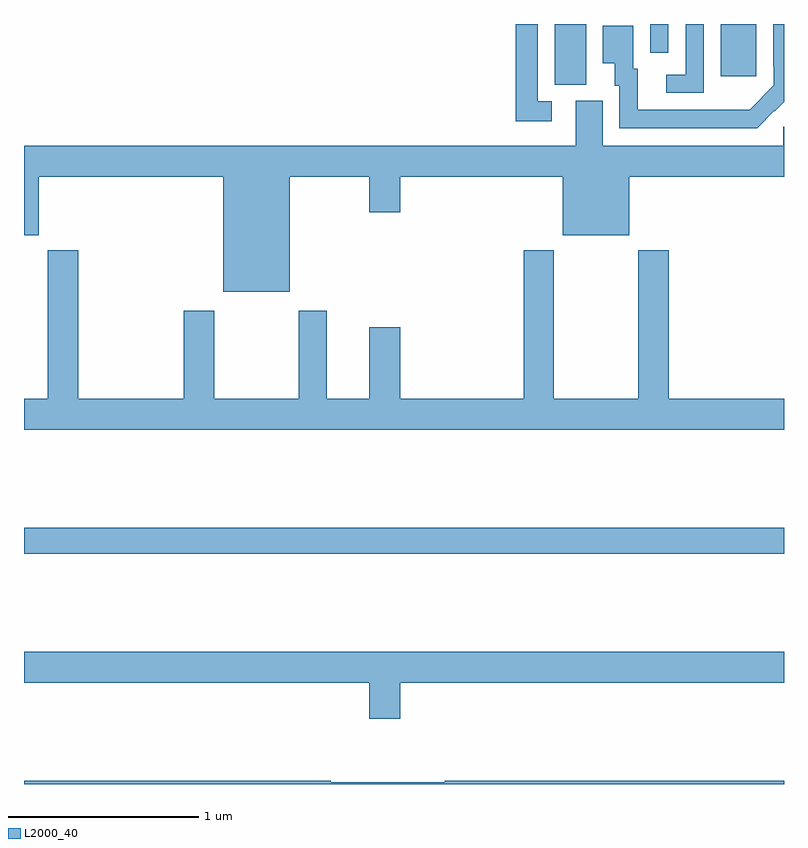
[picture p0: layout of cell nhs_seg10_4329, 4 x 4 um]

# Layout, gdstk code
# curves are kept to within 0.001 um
import gdstk
lib = gdstk.Library(unit=1e-6, precision=1e-09)
def R(c, l, rs):  # rectangles x0, y0, x1, y1
    for r in rs: c.add(gdstk.rectangle(r[:2], r[2:], *l))
def P(c, l, *ps):  # polygons
    for p in ps: c.add(gdstk.Polygon(p, *l))
L2000_40 = (2000, 40)

nhs_seg10_4329 = lib.new_cell('nhs_seg10_4329')
R(nhs_seg10_4329, L2000_40, [(355,1251.712,359,1251.848), (357.794,1254.181,357.958,1254.5), (358.667,1254.225,358.855,1254.499), (358.296,1254.348,358.392,1254.5)])
P(nhs_seg10_4329, L2000_40, [(358.578,1254.5),(358.482,1254.5),(358.482,1254.234),(358.38,1254.234),(358.38,1254.138),(358.578,1254.138)],
  [(358.949,1254.043),(358.95,1254.042),(359,1254.092),(359,1254.5),(358.944,1254.5),(358.944,1254.277),(358.947,1254.277),(358.947,1254.177),(358.819,1254.049),(358.231,1254.048),(358.231,1254.264),(358.207,1254.264),(358.207,1254.49),(358.046,1254.49),(358.046,1254.293),(358.109,1254.293),(358.109,1254.174),(358.134,1254.174),(358.134,1253.952),(358.858,1253.952)],
  [(357.778,1254.093),(357.705,1254.093),(357.705,1254.5),(357.589,1254.5),(357.589,1253.988),(357.778,1253.988)],
  [(356.398,1253.696),(356.816,1253.696),(356.816,1253.508),(356.98,1253.508),(356.98,1253.696),(357.836,1253.696),(357.836,1253.387),(358.186,1253.387),(358.186,1253.696),(359,1253.696),(359,1253.958),(358.995,1253.958),(358.995,1253.86),(358.045,1253.86),(358.045,1254.096),(357.905,1254.096),(357.905,1253.86),(355,1253.86),(355,1253.387),(355.078,1253.387),(355.078,1253.696),(356.048,1253.696),(356.048,1253.09),(356.398,1253.09)],
  [(359,1252.528),(358.394,1252.528),(358.394,1253.308),(358.234,1253.308),(358.234,1252.528),(357.789,1252.528),(357.789,1253.308),(357.629,1253.308),(357.629,1252.528),(356.98,1252.528),(356.98,1252.903),(356.816,1252.903),(356.816,1252.528),(356.593,1252.528),(356.593,1252.99),(356.446,1252.99),(356.446,1252.528),(356.001,1252.528),(356.001,1252.99),(355.841,1252.99),(355.841,1252.528),(355.286,1252.528),(355.286,1253.308),(355.126,1253.308),(355.126,1252.528),(355,1252.528),(355,1252.364),(359,1252.364)],
  [(356.98,1251.032),(359,1251.032),(359,1251.196),(355,1251.196),(355,1251.032),(356.816,1251.032),(356.816,1250.844),(356.98,1250.844)],
  [(359,1250.516),(357.215,1250.516),(357.215,1250.509),(356.615,1250.509),(356.615,1250.516),(355,1250.516),(355,1250.5),(359,1250.5)])

lib.write_gds('nhs_seg10_4329.gds')
